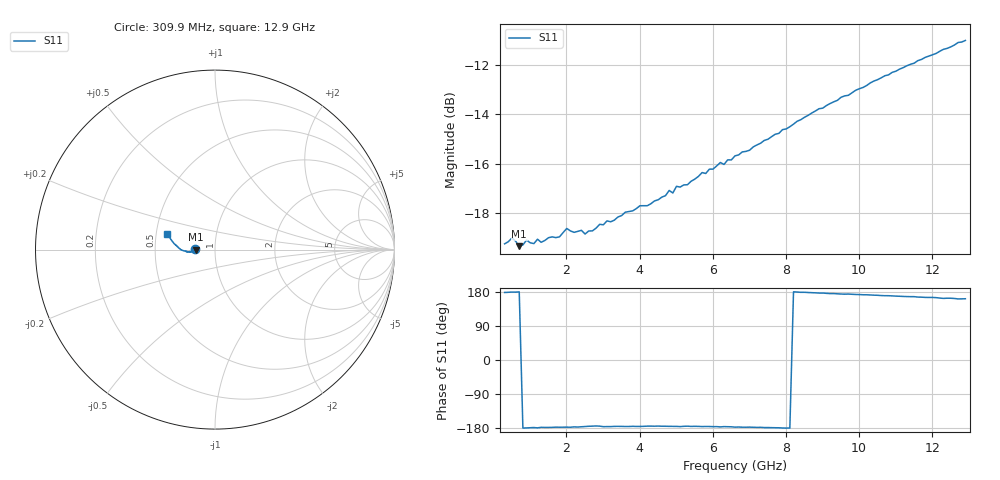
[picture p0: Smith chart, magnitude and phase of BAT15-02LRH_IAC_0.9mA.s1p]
! Infineon Technologies  Discrete & RF Semiconductors
! BAT15-02LRH
! IAC = 0.9 mA
! One-Port S-Parameters
# Hz  S  MA  R  50
!f  S11
!Hz  Mag  Ang
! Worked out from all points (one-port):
!   127 points, 309.9 MHz to 12.9 GHz, reference 50 ohm
!   lowest |S11| = -19.3 dB at 709.6 MHz (marker M1), VSWR 1.24, Z = 40.3 + j0.0378 ohm
!   |S11| at or under -10 dB: start of sweep to end of sweep
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3.0985e8  0.1092 178.2
5.0975e8  0.1122 179.2
7.0965e8  0.108 179.8
9.0955e8  0.1111 -179.2
1.10945e9  0.1093 -178.2
1.2094e9  0.1115 -179.0
1.30935e9  0.11 -177.7
1.50925e9  0.1123 -177.9
1.8091e9  0.1128 -177.4
1.90905e9  0.115 -177.3
2.009e9  0.1173 -177.2
2.2089e9  0.1152 -176.5
2.4088e9  0.1163 -176.2
2.50875e9  0.1143 -175.6
3.50825e9  0.1245 -175.2
4.008e9  0.1303 -175.4
4.2079e9  0.1303 -174.6
4.70765e9  0.1366 -174.8
4.8076e9  0.1399 -175.1
4.90755e9  0.1383 -175.1
5.0075e9  0.1427 -175.2
5.10745e9  0.1421 -175.8
6.6067e9  0.1644 -177.2
8.2059e9  0.1905 180.0
9.8051e9  0.2204 173.4
1.14043e10  0.2517 167.1
1.270365e10  0.2785 161.2
1.290355e10  0.2812 161.6
